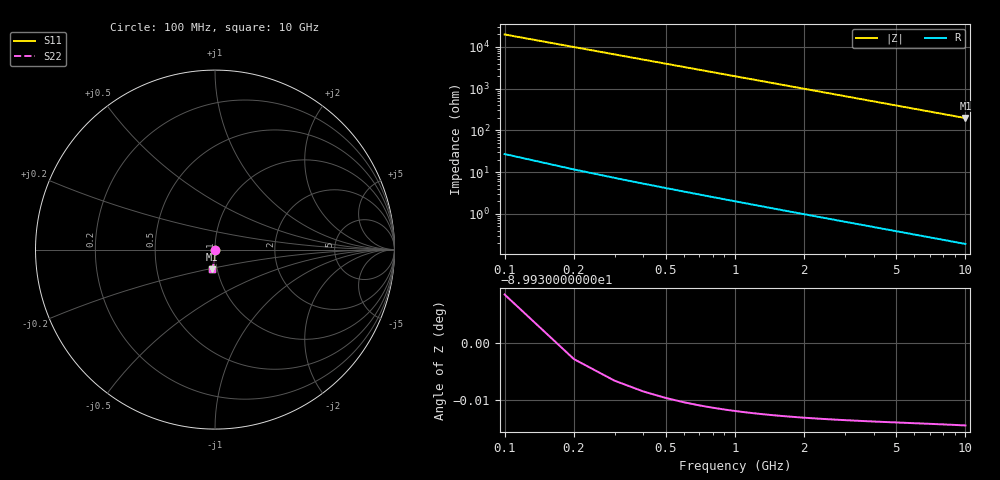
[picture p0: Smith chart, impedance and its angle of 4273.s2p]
# Hz S RI R 50.00
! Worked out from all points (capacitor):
!   100 points, 100 MHz to 10 GHz, reference 50 ohm
!   read as one part in shunt: C = 80.3 fF near 100 MHz
!   lowest |Z| = 198 ohm at 10 GHz (marker M1)
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1e8  9.26e-05 -0.00112  0.9999 -0.0014  0.9999 -0.0014  9.26e-05 -0.00112
2e8  8.73e-05 -0.00224  0.9999 -0.0028  0.9999 -0.0028  8.73e-05 -0.00224
3e8  7.88e-05 -0.00336  0.9999 -0.0042  0.9999 -0.0042  7.88e-05 -0.00336
4e8  6.69e-05 -0.00448  0.9999 -0.0056  0.9999 -0.0056  6.69e-05 -0.00448
5e8  5.19e-05 -0.0056  0.9999 -0.00701  0.9999 -0.00701  5.19e-05 -0.0056
6e8  3.37e-05 -0.00672  0.9998 -0.00841  0.9998 -0.00841  3.37e-05 -0.00672
7e8  1.24e-05 -0.00784  0.9998 -0.00981  0.9998 -0.00981  1.24e-05 -0.00784
8e8  -1.22e-05 -0.00897  0.9998 -0.0112  0.9998 -0.0112  -1.22e-05 -0.00897
9e8  -3.99e-05 -0.0101  0.9998 -0.0126  0.9998 -0.0126  -3.99e-05 -0.0101
1.1e9  -0.000105 -0.0123  0.9997 -0.0154  0.9997 -0.0154  -0.000105 -0.0123
1.4e9  -0.000226 -0.0157  0.9996 -0.0196  0.9996 -0.0196  -0.000226 -0.0157
1.8e9  -0.000431 -0.0202  0.9994 -0.0252  0.9994 -0.0252  -0.000431 -0.0202
2.1e9  -0.000618 -0.0235  0.9992 -0.0294  0.9992 -0.0294  -0.000618 -0.0235
2.5e9  -0.000911 -0.028  0.9989 -0.035  0.9989 -0.035  -0.000911 -0.028
2.9e9  -0.00125 -0.0325  0.9985 -0.0406  0.9985 -0.0406  -0.00125 -0.0325
3.4e9  -0.00175 -0.0381  0.998 -0.0476  0.998 -0.0476  -0.00175 -0.0381
4.2e9  -0.00272 -0.047  0.997 -0.0588  0.997 -0.0588  -0.00272 -0.047
5.1e9  -0.00404 -0.057  0.9956 -0.0713  0.9956 -0.0713  -0.00404 -0.057
5.9e9  -0.00543 -0.0659  0.9942 -0.0825  0.9942 -0.0825  -0.00543 -0.0659
6.7e9  -0.00702 -0.0747  0.9926 -0.0935  0.9926 -0.0935  -0.00702 -0.0747
8.4e9  -0.011 -0.0934  0.9885 -0.117  0.9885 -0.117  -0.011 -0.0934
1e10  -0.0156 -0.1107  0.9837 -0.1389  0.9837 -0.1389  -0.0156 -0.1107
